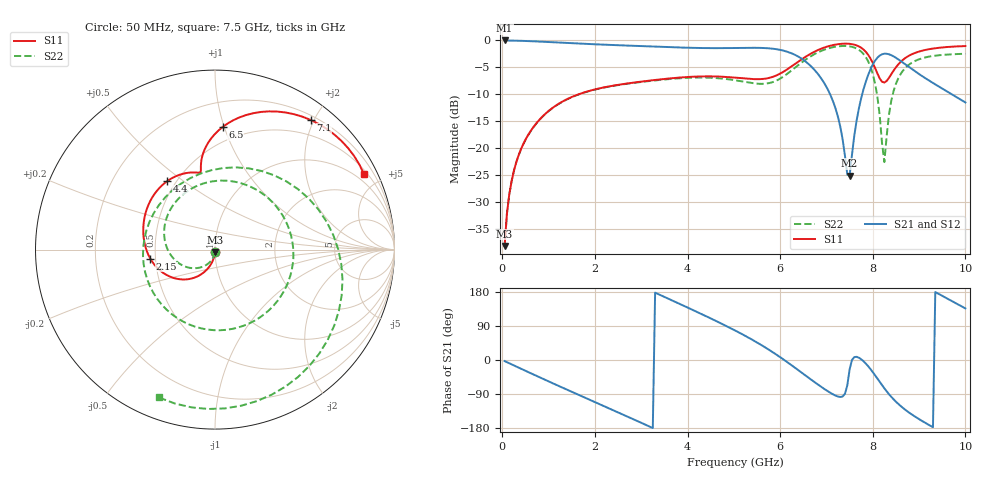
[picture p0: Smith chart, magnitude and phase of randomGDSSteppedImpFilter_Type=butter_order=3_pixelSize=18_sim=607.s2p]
! freq	dB(S11)	phase(S11)	dB(S12)	phase(S12)
!  dB(S21)	phase(S21)	dB(S22)	phase(S22)
!S-par simulation data
#  GHz  S  DB  R 50
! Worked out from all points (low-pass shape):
!   200 points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, 50 MHz to 10 GHz, reference 50 ohm
!   highest |S21| = 0.00 dB at 50 MHz (marker M1); lowest = -25.0 dB at 7.5 GHz (marker M2)
!   |S21| within 3 dB of the highest: start of sweep to 6.394 GHz; 8.124 GHz to 8.459 GHz (335.4 MHz wide, 4.04 % of centre)
!   lowest |S11| = -38.1 dB at 50 MHz (marker M3), VSWR 1.03, Z = 49.9 - j1.25 ohm
!   |S11| at or under -10 dB: start of sweep to 1.639 GHz
!   |S22| runs from -38.1 to -1.0 dB; largest |S21 - S12| = 0
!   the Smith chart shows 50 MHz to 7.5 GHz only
!   S11 on the Smith chart (normalised r, x): 50 MHz: 1.00, -0.02; 2.15 GHz: 0.47, -0.05; 4.4 GHz: 0.45, +0.43; 6.5 GHz: 0.38, +0.99; 7.1 GHz: 0.26, +1.95; 7.5 GHz: 0.66, +4.11
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0.05  -38.08 -92.2  -0.00 -2.9  -0.00 -2.9  -38.09 -93.7
0.2  -26.08 -99.0  -0.03 -11.5  -0.03 -11.5  -26.09 -104.6
0.5  -18.38 -112.2  -0.10 -28.5  -0.10 -28.5  -18.41 -126.6
1.15  -12.10 -138.0  -0.36 -64.7  -0.36 -64.7  -12.12 -172.7
1.75  -9.67 -159.5  -0.61 -97.5  -0.61 -97.5  -9.70 143.1
2.15  -8.77 -172.1  -0.77 -119.2  -0.77 -119.2  -8.81 112.5
3.4  -7.22 153.3  -1.18 172.1  -1.18 172.1  -7.31 10.4
4.4  -6.65 125.1  -1.42 115.6  -1.42 115.6  -6.88 -73.5
5.05  -6.91 108.2  -1.40 76.5  -1.40 76.5  -7.40 -134.2
5.55  -7.17 100.9  -1.37 42.7  -1.37 42.7  -8.03 164.3
6  -6.14 99.0  -1.75 7.5  -1.75 7.5  -7.07 92.3
6.5  -3.30 86.5  -3.59 -36.6  -3.59 -36.6  -3.86 14.0
6.7  -2.27 76.9  -5.07 -54.6  -5.07 -54.6  -2.73 -13.4
7.1  -0.94 53.6  -10.38 -87.7  -10.38 -87.7  -1.33 -62.8
7.5  -0.63 26.7  -25.01 -25.0  -25.01 -25.0  -1.10 -110.8
7.8  -1.68 3.4  -9.05 -3.3  -9.05 -3.3  -2.51 -154.5
8.05  -5.11 -10.7  -3.74 -40.4  -3.74 -40.4  -7.99 154.5
8.25  -7.80 6.8  -2.46 -74.7  -2.46 -74.7  -22.52 24.1
8.35  -6.92 17.0  -2.56 -90.2  -2.56 -90.2  -13.74 -51.8
8.75  -2.99 10.7  -4.72 -135.8  -4.72 -135.8  -4.71 -119.5
9.3  -1.50 -13.3  -7.88 -177.3  -7.88 -177.3  -2.87 -176.0
10  -1.04 -40.6  -11.48 136.1  -11.48 136.1  -2.46 110.6
